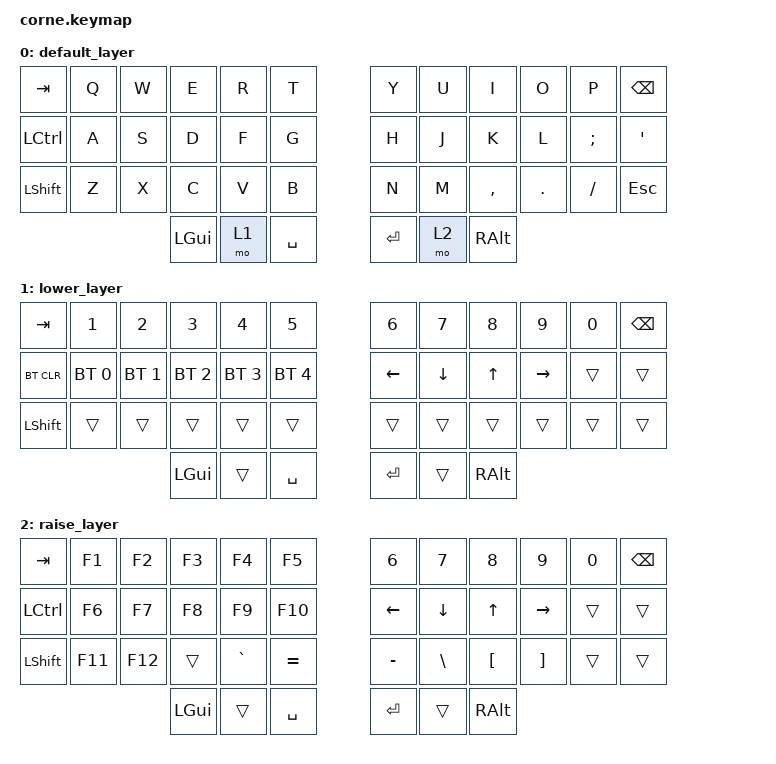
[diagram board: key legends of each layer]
/*
 * Copyright (c) 2020 The ZMK Contributors
 *
 * SPDX-License-Identifier: MIT
 */

#include <behaviors.dtsi>
#include <dt-bindings/zmk/keys.h>
#include <dt-bindings/zmk/bt.h>

/ {
        keymap {
                compatible = "zmk,keymap";

                default_layer {
// -----------------------------------------------------------------------------------------
// |  TAB |  Q  |  W  |  E  |  R  |  T  |   |  Y  |  U   |  I  |  O  |  P  | BSPC |
// | CTRL |  A  |  S  |  D  |  F  |  G  |   |  H  |  J   |  K  |  L  |  ;  |  '   |
// | SHFT |  Z  |  X  |  C  |  V  |  B  |   |  N  |  M   |  ,  |  .  |  /  | ESC  |
//                    | GUI | LWR | SPC |   | ENT | RSE  | ALT |
                        bindings = <
   &kp TAB   &kp Q &kp W &kp E &kp R &kp T   &kp Y &kp U  &kp I     &kp O   &kp P    &kp BSPC
   &kp LCTRL &kp A &kp S &kp D &kp F &kp G   &kp H &kp J  &kp K     &kp L   &kp SEMI &kp SQT
   &kp LSHFT &kp Z &kp X &kp C &kp V &kp B   &kp N &kp M  &kp COMMA &kp DOT &kp FSLH &kp ESC
                  &kp LGUI &mo 1 &kp SPACE   &kp RET &mo 2 &kp RALT
                        >;
                };
                lower_layer {
// -----------------------------------------------------------------------------------------
// |  TAB |  1  |  2  |  3  |  4  |  5  |   |  6  |  7  |  8  |  9  |  0  | BSPC |
// | BTCLR| BT1 | BT2 | BT3 | BT4 | BT5 |   | LFT | DWN |  UP | RGT |     |      |
// | SHFT |     |     |     |     |     |   |     |     |     |     |     |      |
//                    | GUI |     | SPC |   | ENT |     | ALT |
                        bindings = <
   &kp TAB    &kp N1       &kp N2       &kp N3       &kp N4       &kp N5         &kp N6   &kp N7   &kp N8 &kp N9    &kp N0 &kp BSPC
   &bt BT_CLR &bt BT_SEL 0 &bt BT_SEL 1 &bt BT_SEL 2 &bt BT_SEL 3 &bt BT_SEL 4   &kp LEFT &kp DOWN &kp UP &kp RIGHT &trans &trans
   &kp LSHFT  &trans       &trans       &trans       &trans       &trans         &trans   &trans   &trans &trans    &trans &trans
                                    &kp LGUI     &trans       &kp SPACE      &kp RET  &trans   &kp RALT
                        >;
                };

                raise_layer {
// -----------------------------------------------------------------------------------------
// |  TAB | F1  | F2  | F3  | F4  | F5  |   |  6  |  7  |  8  |  9  |  0  | BSPC |
// | CTRL | F6  | F7  | F8  | F9  | F10 |   | LFT | DWN |  UP | RGT |     |      |
// | SHFT | F11 | F12 |     |  `  |  =  |   |  -  |  \  |  [  |  ]  |     |      |
//                    | GUI |     | SPC |   | ENT |     | ALT |
//   ( `->~  =->+  -->_  \->|  [->{  ]->}  produced on SHIFT )
                        bindings = <
   &kp TAB   &kp F1  &kp F2  &kp F3 &kp F4    &kp F5      &kp N6    &kp N7   &kp N8   &kp N9    &kp N0 &kp BSPC
   &kp LCTRL &kp F6  &kp F7  &kp F8 &kp F9    &kp F10     &kp LEFT  &kp DOWN &kp UP   &kp RIGHT &trans &trans
   &kp LSHFT &kp F11 &kp F12 &trans &kp GRAVE &kp EQUAL   &kp MINUS &kp BSLH &kp LBKT &kp RBKT  &trans &trans
                             &kp LGUI &trans &kp SPACE    &kp RET   &trans   &kp RALT
                        >;
                };
        };
};
